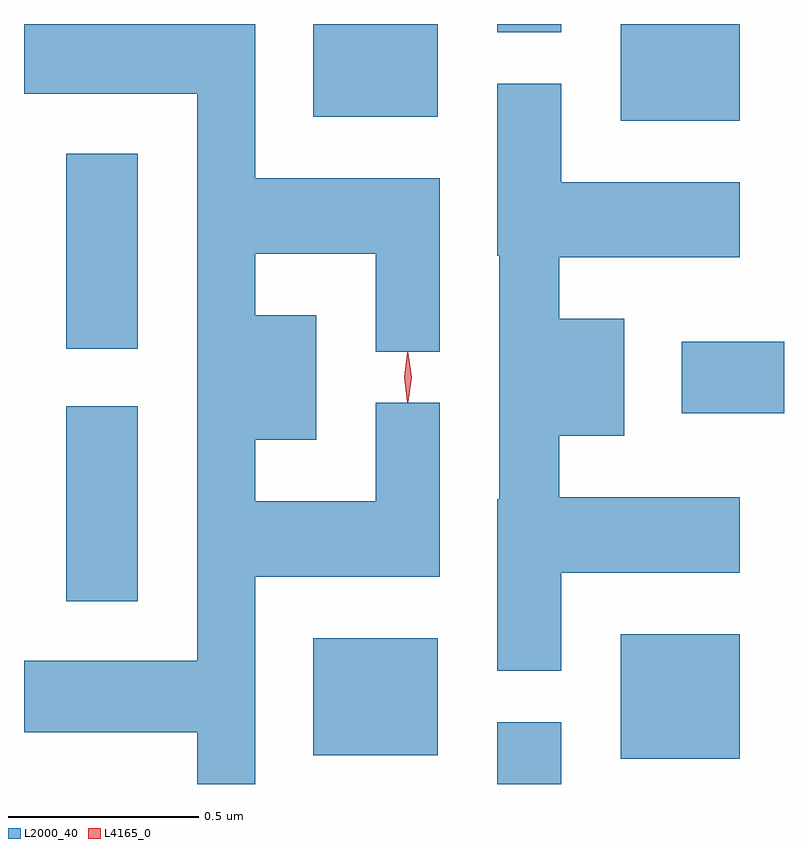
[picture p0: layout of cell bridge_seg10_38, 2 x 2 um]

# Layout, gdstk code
import gdstk
lib = gdstk.Library(unit=1e-6, precision=1e-09)
def R(c, l, rs):  # rectangles x0, y0, x1, y1
    for r in rs: c.add(gdstk.rectangle(r[:2], r[2:], *l))
def P(c, l, *ps):  # polygons
    for p in ps: c.add(gdstk.Polygon(p, *l))
L2000_40 = (2000, 40)
L4165_0 = (4165, 0)

bridge_seg10_38 = lib.new_cell('bridge_seg10_38')
R(bridge_seg10_38, L2000_40, [(1750.371,2161.38,1750.539,2161.543), (1750.696,2161.446,1751.009,2161.774), (1749.886,2161.456,1750.214,2161.764), (1749.236,2161.861,1749.424,2162.374), (1750.856,2162.356,1751.125,2162.544), (1749.236,2162.526,1749.424,2163.039), (1750.696,2163.126,1751.009,2163.38), (1749.886,2163.136,1750.214,2163.38), (1750.371,2163.358,1750.539,2163.38)])
P(bridge_seg10_38, L2000_40, [(1749.734,2161.926),(1750.219,2161.926),(1750.219,2162.383),(1750.051,2162.383),(1750.051,2162.124),(1749.734,2162.124),(1749.734,2162.286),(1749.894,2162.286),(1749.894,2162.614),(1749.734,2162.614),(1749.734,2162.776),(1750.051,2162.776),(1750.051,2162.518),(1750.219,2162.518),(1750.219,2162.974),(1749.734,2162.974),(1749.734,2163.38),(1749.125,2163.38),(1749.125,2163.196),(1749.581,2163.196),(1749.581,2161.704),(1749.125,2161.704),(1749.125,2161.516),(1749.581,2161.516),(1749.581,2161.38),(1749.734,2161.38)],
  [(1750.539,2161.936),(1751.009,2161.936),(1751.009,2162.134),(1750.534,2162.134),(1750.534,2162.296),(1750.704,2162.296),(1750.704,2162.604),(1750.534,2162.604),(1750.534,2162.766),(1751.009,2162.766),(1751.009,2162.964),(1750.539,2162.964),(1750.539,2163.223),(1750.371,2163.223),(1750.371,2162.77),(1750.376,2162.77),(1750.376,2162.13),(1750.371,2162.13),(1750.371,2161.678),(1750.539,2161.678)])
P(bridge_seg10_38, L4165_0, [(1750.135,2162.384),(1750.134,2162.385),(1750.125,2162.45),(1750.134,2162.515),(1750.135,2162.516),(1750.136,2162.515),(1750.145,2162.45),(1750.136,2162.385)])

lib.write_gds('bridge_seg10_38.gds')
